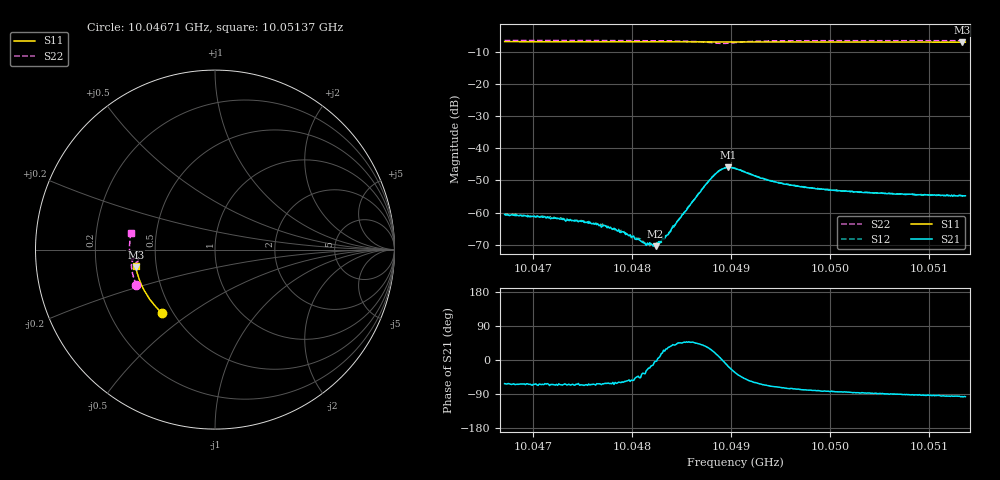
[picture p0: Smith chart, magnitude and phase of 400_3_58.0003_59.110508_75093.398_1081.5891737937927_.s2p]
#  HZ  S  RI  R  50.00
! Rohde & Schwarz Vector Network Analyzer
! Rohde-Schwarz,ZNB20-2Port,1311601062101988,3.16
! Created: UTC 3/21/2024, 1:08:13 AM
! freq[Hz]  re:S11  im:S11  re:S21  im:S21  re:S12  im:S12  re:S22  im:S22
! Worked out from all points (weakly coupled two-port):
!   401 points, 10.04671 GHz to 10.05137 GHz, reference 50 ohm
!   highest |S21| = -45.92 dB at 10.04897 GHz (marker M1); lowest = -70.5 dB at 10.04823 GHz (marker M2)
!   lowest |S11| = -6.9 dB at 10.05133 GHz (marker M3), VSWR 2.65, Z = 19.1 - j4.61 ohm
!   |S11| at or under -10 dB: nowhere
!   |S22| runs from -7.3 to -6.4 dB; largest |S21 - S12| = 0.00034
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1.0046709e10  -0.2932 -0.3548  0.00043 -0.000825  0.000486 -0.000829  -0.438 -0.1973
1.0047093e10  -0.3118 -0.3373  0.000368 -0.000758  0.000431 -0.000776  -0.4474 -0.1729
1.0047489e10  -0.3298 -0.3184  0.000301 -0.000659  0.000369 -0.000651  -0.4557 -0.147
1.0047733e10  -0.3405 -0.3064  0.000292 -0.000541  0.000325 -0.000519  -0.4599 -0.1306
1.0047885e10  -0.3467 -0.2986  0.000245 -0.000421  0.000293 -0.000438  -0.4624 -0.1198
1.0047966e10  -0.3501 -0.2945  0.000265 -0.000344  0.000276 -0.000348  -0.4634 -0.1139
1.0048082e10  -0.3548 -0.2884  0.000249 -0.000263  0.000308 -0.000233  -0.4647 -0.1053
1.0048152e10  -0.3577 -0.2847  0.000303 -0.000142  0.000293 -0.000112  -0.4652 -0.1
1.0048234e10  -0.361 -0.2804  0.000299 -1.76e-05  0.000312 -1.53e-05  -0.4659 -0.0936
1.0048269e10  -0.3622 -0.2785  0.000354 3.79e-05  0.00033 7.46e-05  -0.4661 -0.0907
1.0048304e10  -0.3635 -0.2767  0.000372 0.000125  0.000346 0.000134  -0.4661 -0.0879
1.0048373e10  -0.3661 -0.2729  0.000405 0.000277  0.000387 0.000313  -0.466 -0.0818
1.0048676e10  -0.3772 -0.2563  0.00148 0.00136  0.00142 0.00146  -0.4566 -0.0532
1.0048804e10  -0.3815 -0.2491  0.00319 0.00151  0.00312 0.00172  -0.4413 -0.046
1.0048886e10  -0.3841 -0.2445  0.00454 0.000497  0.0045 0.000788  -0.43 -0.0523
1.0048967e10  -0.3867 -0.24  0.00485 -0.00144  0.00495 -0.00111  -0.4302 -0.066
1.0049037e10  -0.3891 -0.2364  0.00407 -0.00264  0.00429 -0.00241  -0.4396 -0.0725
1.004941e10  -0.401 -0.2148  0.00107 -0.00287  0.00127 -0.00286  -0.4701 -0.0463
1.0049817e10  -0.4124 -0.1907  0.000406 -0.00237  0.000544 -0.00234  -0.4756 -0.0135
1.0050597e10  -0.4301 -0.1427  -1.89e-05 -0.00199  0.00016 -0.00197  -0.4748 0.0416
1.005133e10  -0.4416 -0.0962  -0.000203 -0.00182  -8.6e-05 -0.0018  -0.4675 0.0904
1.0051365e10  -0.4421 -0.094  -0.000214 -0.00181  -9.39e-05 -0.00182  -0.4673 0.0926
